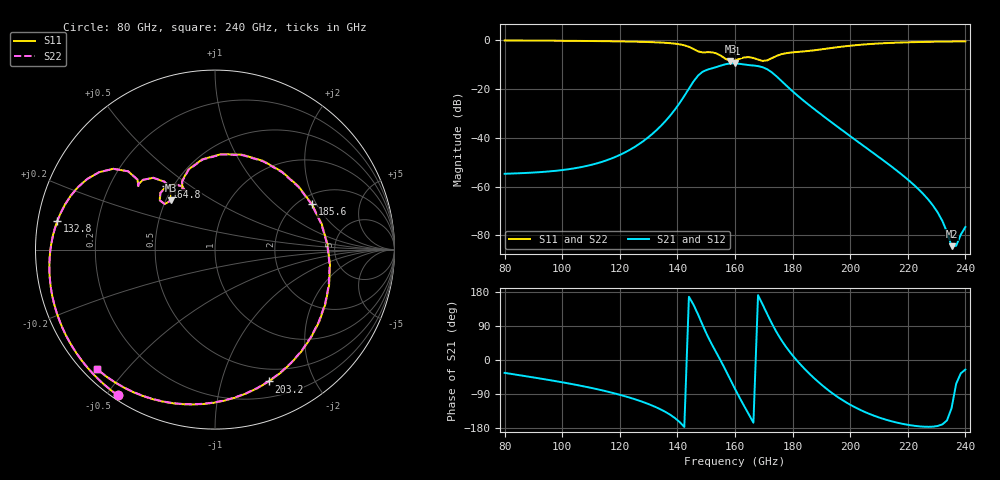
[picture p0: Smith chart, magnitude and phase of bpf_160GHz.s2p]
#  GHZ S DB R 50
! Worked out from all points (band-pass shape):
!   101 points, 80 GHz to 240 GHz, reference 50 ohm
!   highest |S21| = -9.58 dB at 160 GHz (marker M1); lowest = -84.4 dB at 235.2 GHz (marker M2)
!   |S21| within 3 dB of the highest: 149.6 GHz to 171.9 GHz (22.33 GHz wide, 13.9 % of centre)
!   lowest |S11| = -8.7 dB at 158.4 GHz (marker M3), VSWR 2.17, Z = 26.5 + j16.8 ohm
!   |S11| at or under -10 dB: nowhere
!   |S22| runs from -8.7 to -0.2 dB; largest |S21 - S12| = 2e-12
!   S11 on the Smith chart (normalised r, x): 80 GHz: 0.02, -0.53; 132.8 GHz: 0.06, +0.09; 164.8 GHz: 0.46, +0.40; 185.6 GHz: 2.34, +1.84; 203.2 GHz: 0.36, -1.43; 240 GHz: 0.04, -0.42
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80  -0.21 -123.7  -54.76 -33.9  -54.76 -33.9  -0.21 -123.7
107.2  -0.41 -154.4  -51.88 -69.1  -51.88 -69.1  -0.41 -154.4
121.6  -0.62 -172.5  -46.14 -95.2  -46.14 -95.2  -0.63 -172.5
132.8  -0.99 169.6  -36.86 -125.3  -36.86 -125.3  -0.99 169.6
134.4  -1.08 166.4  -35.02 -131.1  -35.02 -131.1  -1.08 166.4
145.6  -3.72 138.0  -16.98 145.8  -16.98 145.8  -3.72 138.0
150.4  -5.01 139.9  -12.16 64.7  -12.16 64.7  -5.01 139.8
155.2  -6.52 126.7  -10.46 -4.2  -10.46 -4.2  -6.54 126.6
158.4  -8.66 132.0  -9.60 -52.0  -9.60 -52.0  -8.68 131.9
160  -8.45 137.8  -9.58 -76.2  -9.58 -76.2  -8.48 137.8
164.8  -7.04 127.7  -10.28 -143.5  -10.28 -143.5  -7.06 127.6
168  -8.03 117.4  -10.71 171.1  -10.71 171.1  -8.08 117.2
171.2  -8.36 118.3  -11.99 121.0  -11.99 121.0  -8.41 118.3
179.2  -5.19 74.0  -20.17 19.7  -20.17 19.7  -5.22 73.8
185.6  -4.49 25.1  -26.53 -34.4  -26.53 -34.4  -4.52 25.0
187.2  -4.28 13.7  -28.01 -46.1  -28.01 -46.1  -4.31 13.5
193.6  -3.28 -26.2  -33.76 -86.6  -33.76 -86.6  -3.30 -26.4
203.2  -2.01 -67.8  -42.12 -130.6  -42.12 -130.6  -2.03 -67.8
214.4  -1.20 -97.8  -51.85 -161.8  -51.85 -161.8  -1.21 -97.8
227.2  -0.77 -119.5  -65.45 -176.3  -65.45 -176.3  -0.78 -119.4
235.2  -0.63 -129.4  -84.38 -127.1  -84.38 -127.1  -0.64 -129.4
240  -0.58 -134.6  -76.53 -25.1  -76.53 -25.1  -0.59 -134.5
